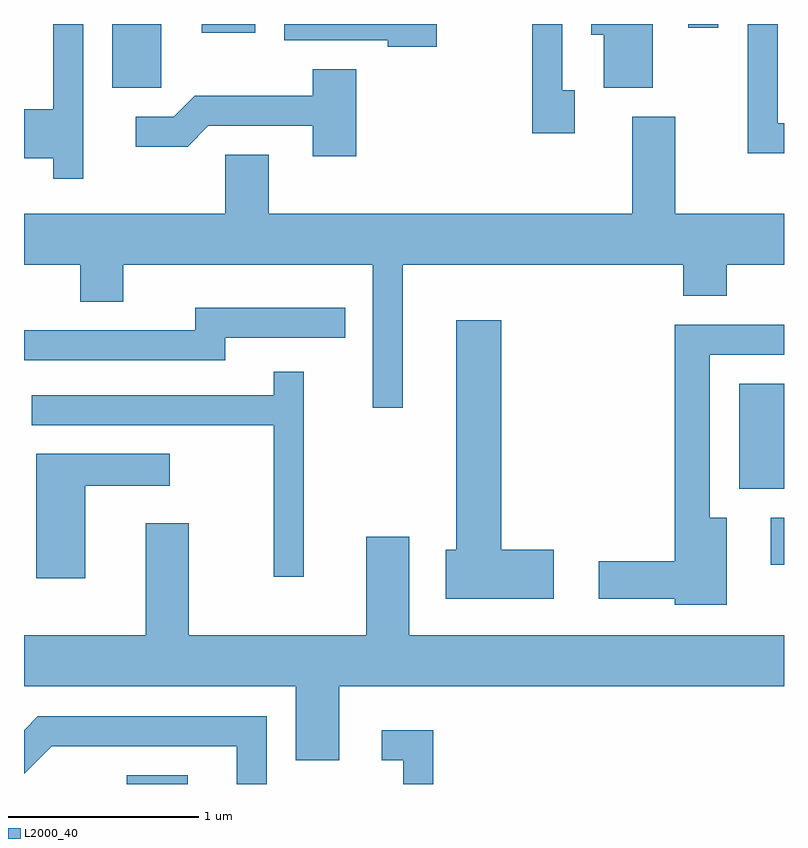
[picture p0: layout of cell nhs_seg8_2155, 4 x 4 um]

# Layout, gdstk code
import gdstk
lib = gdstk.Library(unit=1e-6, precision=1e-09)
def R(c, l, rs):  # rectangles x0, y0, x1, y1
    for r in rs: c.add(gdstk.rectangle(r[:2], r[2:], *l))
def P(c, l, *ps):  # polygons
    for p in ps: c.add(gdstk.Polygon(p, *l))
L2000_40 = (2000, 40)

nhs_seg8_2155 = lib.new_cell('nhs_seg8_2155')
R(nhs_seg8_2155, L2000_40, [(250.151,1840.342,250.473,1840.389), (253.541,1841.496,253.611,1841.744), (253.376,1841.896,253.611,1842.449), (250.076,1844.006,250.334,1844.342), (250.546,1844.296,250.829,1844.342), (253.106,1844.323,253.264,1844.342)])
P(nhs_seg8_2155, L2000_40, [(253.611,1843.819),(253.579,1843.819),(253.579,1844.342),(253.421,1844.342),(253.421,1843.661),(253.611,1843.661)],
  [(252.919,1844.342),(252.596,1844.342),(252.596,1844.286),(252.661,1844.286),(252.661,1844.006),(252.919,1844.006)],
  [(251.784,1844.342),(250.981,1844.342),(250.981,1844.256),(251.526,1844.256),(251.526,1844.221),(251.784,1844.221)],
  [(249.924,1844.342),(249.766,1844.342),(249.766,1843.894),(249.611,1843.894),(249.611,1843.636),(249.766,1843.636),(249.766,1843.528),(249.924,1843.528)],
  [(252.509,1843.994),(252.444,1843.994),(252.444,1844.342),(252.286,1844.342),(252.286,1843.766),(252.509,1843.766)],
  [(251.359,1844.104),(251.131,1844.104),(251.131,1843.964),(250.509,1843.964),(250.399,1843.854),(250.198,1843.854),(250.198,1843.696),(250.472,1843.696),(250.582,1843.806),(251.131,1843.806),(251.131,1843.646),(251.359,1843.646)],
  [(251.604,1843.076),(253.081,1843.076),(253.081,1842.911),(253.309,1842.911),(253.309,1843.076),(253.611,1843.076),(253.611,1843.344),(253.039,1843.344),(253.039,1843.854),(252.811,1843.854),(252.811,1843.344),(250.899,1843.344),(250.899,1843.654),(250.671,1843.654),(250.671,1843.344),(249.611,1843.344),(249.611,1843.076),(249.906,1843.076),(249.906,1842.881),(250.134,1842.881),(250.134,1843.076),(251.446,1843.076),(251.446,1842.323),(251.604,1842.323)],
  [(250.669,1842.691),(251.303,1842.691),(251.303,1842.849),(250.511,1842.849),(250.511,1842.729),(249.611,1842.729),(249.611,1842.571),(250.669,1842.571)],
  [(252.399,1841.574),(252.124,1841.574),(252.124,1842.784),(251.886,1842.784),(251.886,1841.574),(251.831,1841.574),(251.831,1841.316),(252.399,1841.316)],
  [(253.309,1841.744),(253.219,1841.744),(253.219,1842.601),(253.611,1842.601),(253.611,1842.759),(253.036,1842.759),(253.036,1841.514),(252.636,1841.514),(252.636,1841.316),(253.036,1841.316),(253.036,1841.286),(253.309,1841.286)],
  [(251.084,1842.513),(250.926,1842.513),(250.926,1842.389),(249.653,1842.389),(249.653,1842.231),(250.926,1842.231),(250.926,1841.433),(251.084,1841.433)],
  [(249.934,1841.911),(250.378,1841.911),(250.378,1842.079),(249.676,1842.079),(249.676,1841.426),(249.934,1841.426)],
  [(251.269,1840.856),(253.611,1840.856),(253.611,1841.124),(251.639,1841.124),(251.639,1841.644),(251.411,1841.644),(251.411,1841.124),(250.479,1841.124),(250.479,1841.714),(250.251,1841.714),(250.251,1841.124),(249.611,1841.124),(249.611,1840.856),(251.041,1840.856),(251.041,1840.466),(251.269,1840.466)],
  [(250.889,1840.699),(249.684,1840.699),(249.611,1840.626),(249.611,1840.396),(249.757,1840.541),(250.731,1840.541),(250.731,1840.342),(250.889,1840.342)],
  [(251.764,1840.624),(251.493,1840.624),(251.493,1840.466),(251.606,1840.466),(251.606,1840.342),(251.764,1840.342)])

lib.write_gds('nhs_seg8_2155.gds')
